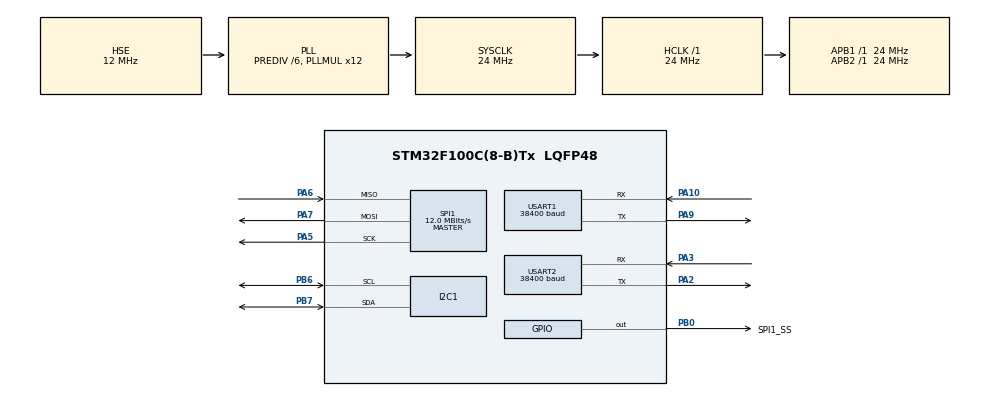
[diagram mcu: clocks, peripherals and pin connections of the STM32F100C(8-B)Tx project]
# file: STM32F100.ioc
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FREERTOS.Queues01=sensor_uart_rx,20,uint16_t,0,Dynamic,NULL,NULL;glider_uart_rx,5,uint16_t,0,Dynamic,NULL,NULL;glider_pt,2,char*,0,Dynamic,NULL,NULL
FREERTOS.Tasks01=defaultTask,0,128,StartDefaultTask,Default,NULL,Dynamic,NULL,NULL;sensor_t,-3,256,sensor_f,Default,NULL,Dynamic,NULL,NULL;glider_t,-3,128,glider_f,Default,NULL,Dynamic,NULL,NULL
FREERTOS.configTOTAL_HEAP_SIZE=4000
Mcu.Family=STM32F1
Mcu.Name=STM32F100C(8-B)Tx
Mcu.Package=LQFP48
NVIC.I2C1_ER_IRQn=true\:5\:0\:false\:false\:true\:true\:true\:true
NVIC.I2C1_EV_IRQn=true\:5\:0\:false\:false\:true\:true\:true\:true
NVIC.PriorityGroup=NVIC_PRIORITYGROUP_4
NVIC.SPI1_IRQn=true\:5\:0\:false\:false\:true\:true\:true\:true
NVIC.TIM1_UP_TIM16_IRQn=true\:0\:0\:false\:false\:true\:false\:false\:true
NVIC.TimeBase=TIM1_UP_TIM16_IRQn
NVIC.TimeBaseIP=TIM1
NVIC.USART1_IRQn=true\:5\:0\:false\:false\:true\:true\:true\:true
NVIC.USART2_IRQn=true\:5\:0\:false\:false\:true\:true\:true\:true
PA10.Mode=Asynchronous
PA10.Signal=USART1_RX
PA13.Mode=Serial_Wire
PA13.Signal=SYS_JTMS-SWDIO
PA14.Mode=Serial_Wire
PA14.Signal=SYS_JTCK-SWCLK
PA2.Mode=Asynchronous
PA2.Signal=USART2_TX
PA3.Mode=Asynchronous
PA3.Signal=USART2_RX
PA5.Mode=Full_Duplex_Master
PA5.Signal=SPI1_SCK
PA6.Mode=Full_Duplex_Master
PA6.Signal=SPI1_MISO
PA7.Mode=Full_Duplex_Master
PA7.Signal=SPI1_MOSI
PA9.Mode=Asynchronous
PA9.Signal=USART1_TX
PB0.GPIO_Label=SPI1_SS
PB0.GPIO_Speed=GPIO_SPEED_FREQ_HIGH
PB0.Signal=GPIO_Output
PB6.Mode=I2C
PB6.Signal=I2C1_SCL
PB7.Mode=I2C
PB7.Signal=I2C1_SDA
PD0-OSC_IN.Mode=HSE-External-Oscillator
PD0-OSC_IN.Signal=RCC_OSC_IN
PD1-OSC_OUT.Mode=HSE-External-Oscillator
PD1-OSC_OUT.Signal=RCC_OSC_OUT
ProjectManager.HeapSize=0x200
ProjectManager.StackSize=0x400
ProjectManager.TargetToolchain=MDK-ARM V5
RCC.AHBFreq_Value=24000000
RCC.APB1Freq_Value=24000000
RCC.APB1TimFreq_Value=24000000
RCC.APB2Freq_Value=24000000
RCC.APB2TimFreq_Value=24000000
RCC.HCLKFreq_Value=24000000
RCC.HSEDivPLL=RCC_HSE_PREDIV_DIV6
RCC.HSE_VALUE=12000000
RCC.PLLMUL=RCC_PLL_MUL12
RCC.PLLSource=RCC_PLLSOURCE_HSE
RCC.SYSCLKFreq_VALUE=24000000
RCC.SYSCLKSource=RCC_SYSCLKSOURCE_PLLCLK
SPI1.BaudRatePrescaler=SPI_BAUDRATEPRESCALER_2
SPI1.CalculateBaudRate=12.0 MBits/s
SPI1.Direction=SPI_DIRECTION_2LINES
SPI1.Mode=SPI_MODE_MASTER
SPI1.VirtualType=VM_MASTER
USART1.BaudRate=38400
USART1.VirtualMode=VM_ASYNC
USART2.BaudRate=38400
USART2.VirtualMode=VM_ASYNC
VP_FREERTOS_VS_CMSIS_V1.Mode=CMSIS_V1
VP_SYS_VS_tim1.Mode=TIM1
board=custom

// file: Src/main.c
/* USER CODE BEGIN Header */
/**
  ******************************************************************************
  * @file           : main.c
  * @brief          : Main program body
  ******************************************************************************
  * @attention
  *
  * <h2><center>&copy; Copyright (c) 2019 STMicroelectronics.
  * All rights reserved.</center></h2>
  *
  * This software component is licensed by ST under BSD 3-Clause license,
  * the "License"; You may not use this file except in compliance with the
  * License. You may obtain a copy of the License at:
  *                        opensource.org/licenses/BSD-3-Clause
  *
  ******************************************************************************
  */
/* USER CODE END Header */

#include "main.h"
#include "cmsis_os.h"

/* USER CODE BEGIN Includes */
#include "w25qxx.h"
#include "MS5837.h"
#include "string.h"
#include "stdlib.h"
#include "mbcrc.h"
/* USER CODE END Includes */

/* USER CODE BEGIN PD */
#define  DEPTH_THR_LEVEL         100.0
#define  H_DEPTH                 0
#define  L_DEPTH                 1
#define  UNKNOWN_DEPTH           2

#define  SENSOR_UART             huart2
#define  GLIDER_UART             huart1

#define  READY									 1
#define  STOPPED                 2

#define  DEBUG_PROMPT_ON
//#define  DEBUG_ON
//#define  DEBUG_EXT__ON

#define  START_MESSAGE           "g_start:v1.23 UV>"
#define  PROMPT                  "UV>"

#define  SENSOR_MESSAGE_LEN      256
#define  SENSOR_RX_BUFFER_SIZE   1024
#define  SENSOR_RX_BUFFER_THR    768

#define  GLIDER_RX_BUFFER_SIZE   100
#define  GLIDER_RX_BUFFER_THR    70

#define  MAX_LPM_DATA_STRING     250
#define  LPM_DATA_AVG_NUMBER     5

#define  RESP_STRINGS_NUM        2

#define  SENSORDATA_BLOCK            0
#define  SENSORDATA_START_ADDR       4096
#define  SENSORDATA_END_ADDR         12000000

#define  MS5837_BLOCK								 1
#define  MS5837_START_ADDR           12000001
#define  MS5837_END_ADDR             16700000

#define  NUM_OF_DATABLOCKS       2
#define  NO_FREE_SPACE           0
#define  FREE_SPACE              1

#define  SYS_INFO_ADDR           1

#define  NUM_OF_FUNCTIONS           7
#define  GLIDER_CMD_DEPTH           0
#define  GLIDER_CMD_STOP            1
#define  GLIDER_CMD_SEND_TXT_FILE   2
#define  SEND_TXT_FILE              3
#define  GLIDER_CMD_START           4
#define  SEND_INFO                  5
#define  RESET                      6

#define  FLASH_ERASE_FLAG        0x01
#define  FLASH_NOERASE_FLAG      0x00

#define  F_ERROR										0
#define  F_NO_ERROR									1

/* USER CODE END PD */

I2C_HandleTypeDef hi2c1;

SPI_HandleTypeDef hspi1;

UART_HandleTypeDef huart1;
UART_HandleTypeDef huart2;

osThreadId defaultTaskHandle;
osThreadId sensor_tHandle;
osThreadId glider_tHandle;
osMessageQId sensor_uart_rxHandle;
osMessageQId glider_uart_rxHandle;
osMessageQId glider_ptHandle;
/* USER CODE BEGIN PV */
uint8_t avg_lpm_data_frame[MAX_LPM_DATA_STRING];
struct LPM_DATA_values LPM_DATA_avg;
uint8_t number_of_frame=0;

uint8_t system_status=STOPPED;
uint8_t sensor_rx_byte;
uint8_t glider_rx_byte;
uint8_t sensor_rx_buffer[SENSOR_RX_BUFFER_SIZE];
uint8_t glider_rx_buffer[GLIDER_RX_BUFFER_SIZE];
uint16_t sensor_rx_buffer_indx=0;
uint16_t glider_rx_buffer_indx=0;
uint16_t sensor_rx_buffer_new_string_indx=0;
uint16_t glider_rx_buffer_new_string_indx=0;
char* glider_commands_strings[]={"DEPTH","STOP","SEND_TXT_FILE","READ_FLASH","START","SEND_INFO","RESET"};
char* data_response_strings[]={"LPM_DATA","BLACK_DATA"};
char  START_ACQ_H[]="$start:ACQ_SG_2H;\n";
char  START_ACQ_L[]="$start:ACQ_SG_2L;\n";
char  STOP_ACQ[]="$stop;\n";
char  PT_MSG_PRE[]="$pt:";
char  PT_MSG_POST[]=";\n";

int ((*glider_functions[NUM_OF_FUNCTIONS]))(uint8_t* msg);

int GLIDER_CMD_DEPTH_f(uint8_t* msg);
int GLIDER_CMD_STOP_f(uint8_t* msg);
int GLIDER_CMD_SEND_TXT_FILE_f(uint8_t* msg);
int SEND_TXT_FILE_f(uint8_t* msg);
int GLIDER_CMD_START_f(uint8_t* msg);
int SEND_INFO_f(uint8_t* msg);
int GLIDER_CMD_RESET_f(uint8_t* msg);

void messages_init(void);
int  parse_message(uint8_t* msg);

void flash_save_sysinfo(uint8_t dirty_flag);

char pressure_string[50];
uint8_t  msg_buffer[SENSOR_MESSAGE_LEN];

/* USER CODE END PV */

void SystemClock_Config(void);
static void MX_GPIO_Init(void);
static void MX_I2C1_Init(void);
static void MX_SPI1_Init(void);
static void MX_USART1_UART_Init(void);
static void MX_USART2_UART_Init(void);
void StartDefaultTask(void const * argument);
void sensor_f(void const * argument);
void glider_f(void const * argument);

/* USER CODE BEGIN PFP */
uint8_t wait_sensor_response_string( uint32_t timeout,uint16_t* msg_indx);
void    save_message_to_flash(uint8_t* data);
uint8_t read_message_from_flash(uint8_t* data);
void    stop_flash_recording(void);
uint8_t check_flash_dirty_flag(void);
double  get_pressure(char* pressure);
void    clearSensorQueue(void);
void    set_L_profile(void);
void    set_H_profile(void);

/* USER CODE END PFP */

/* USER CODE BEGIN 0 */
extern struct MS5837_t MS5837;

#pragma pack (push, 1)
struct LPM_DATA_values
{
 double temperature;
 uint64_t arr1[2];
 uint32_t arr2[16];
 uint16_t arr3[18]
};
#pragma pack (pop)

#pragma pack (push, 1)
struct data_block_str
{
 	uint32_t start_addr;
	uint32_t end_addr;
	uint32_t write_pointer;
	uint32_t read_pointer;
	uint8_t  nofree_space_flag;
};
#pragma pack (pop)

#pragma pack (push, 1)
struct system_info_str
{
  uint8_t  dirty_flag;
  struct   data_block_str data_blocks[NUM_OF_DATABLOCKS];
	int16_t  crc16;
};
#pragma pack (pop)
struct system_info_str running_sys_info;

struct data_block_str* sensor_data_hdr;

/* USER CODE END 0 */

int main(void)
{

  /* MCU Configuration--------------------------------------------------------*/

  /* Reset of all peripherals, Initializes the Flash interface and the Systick. */
  HAL_Init();

  /* Configure the system clock */
  SystemClock_Config();

  /* Initialize all configured peripherals */
  MX_GPIO_Init();
  MX_I2C1_Init();
  MX_SPI1_Init();
  MX_USART1_UART_Init();
  MX_USART2_UART_Init();

  /* Create the queue(s) */
  /* definition and creation of sensor_uart_rx */
  osMessageQDef(sensor_uart_rx, 20, uint16_t);
  sensor_uart_rxHandle = osMessageCreate(osMessageQ(sensor_uart_rx), NULL);

  /* definition and creation of glider_uart_rx */
  osMessageQDef(glider_uart_rx, 5, uint16_t);
  glider_uart_rxHandle = osMessageCreate(osMessageQ(glider_uart_rx), NULL);

  /* definition and creation of glider_pt */
  osMessageQDef(glider_pt, 2, char*);
  glider_ptHandle = osMessageCreate(osMessageQ(glider_pt), NULL);

  /* Create the thread(s) */
  /* definition and creation of defaultTask */
  osThreadDef(defaultTask, StartDefaultTask, osPriorityNormal, 0, 128);
  defaultTaskHandle = osThreadCreate(osThread(defaultTask), NULL);

  /* definition and creation of sensor_t */
  osThreadDef(sensor_t, sensor_f, osPriorityIdle, 0, 256);
  sensor_tHandle = osThreadCreate(osThread(sensor_t), NULL);

  /* definition and creation of glider_t */
  osThreadDef(glider_t, glider_f, osPriorityIdle, 0, 128);
  glider_tHandle = osThreadCreate(osThread(glider_t), NULL);

  /* Start scheduler */
  osKernelStart();

  /* We should never get here as control is now taken by the scheduler */

  /* Infinite loop */
  while (1)
  {

  }
}

void SystemClock_Config(void)
{
  RCC_OscInitTypeDef RCC_OscInitStruct = {0};
  RCC_ClkInitTypeDef RCC_ClkInitStruct = {0};

  /** Initializes the CPU, AHB and APB busses clocks
  */
  RCC_OscInitStruct.OscillatorType = RCC_OSCILLATORTYPE_HSE;
  RCC_OscInitStruct.HSEState = RCC_HSE_ON;
  RCC_OscInitStruct.HSEPredivValue = RCC_HSE_PREDIV_DIV6;
  RCC_OscInitStruct.PLL.PLLState = RCC_PLL_ON;
  RCC_OscInitStruct.PLL.PLLSource = RCC_PLLSOURCE_HSE;
  RCC_OscInitStruct.PLL.PLLMUL = RCC_PLL_MUL12;
  if (HAL_RCC_OscConfig(&RCC_OscInitStruct) != HAL_OK)
  {
    Error_Handler();
  }
  /** Initializes the CPU, AHB and APB busses clocks
  */
  RCC_ClkInitStruct.ClockType = RCC_CLOCKTYPE_HCLK|RCC_CLOCKTYPE_SYSCLK
                              |RCC_CLOCKTYPE_PCLK1|RCC_CLOCKTYPE_PCLK2;
  RCC_ClkInitStruct.SYSCLKSource = RCC_SYSCLKSOURCE_PLLCLK;
  RCC_ClkInitStruct.AHBCLKDivider = RCC_SYSCLK_DIV1;
  RCC_ClkInitStruct.APB1CLKDivider = RCC_HCLK_DIV1;
  RCC_ClkInitStruct.APB2CLKDivider = RCC_HCLK_DIV1;

  if (HAL_RCC_ClockConfig(&RCC_ClkInitStruct, FLASH_LATENCY_0) != HAL_OK)
  {
    Error_Handler();
  }
}

static void MX_I2C1_Init(void)
{

  hi2c1.Instance = I2C1;
  hi2c1.Init.ClockSpeed = 100000;
  hi2c1.Init.DutyCycle = I2C_DUTYCYCLE_2;
  hi2c1.Init.OwnAddress1 = 0;
  hi2c1.Init.AddressingMode = I2C_ADDRESSINGMODE_7BIT;
  hi2c1.Init.DualAddressMode = I2C_DUALADDRESS_DISABLE;
  hi2c1.Init.OwnAddress2 = 0;
  hi2c1.Init.GeneralCallMode = I2C_GENERALCALL_DISABLE;
  hi2c1.Init.NoStretchMode = I2C_NOSTRETCH_DISABLE;
  if (HAL_I2C_Init(&hi2c1) != HAL_OK)
  {
    Error_Handler();
  }

}

static void MX_SPI1_Init(void)
{

  /* SPI1 parameter configuration*/
  hspi1.Instance = SPI1;
  hspi1.Init.Mode = SPI_MODE_MASTER;
  hspi1.Init.Direction = SPI_DIRECTION_2LINES;
  hspi1.Init.DataSize = SPI_DATASIZE_8BIT;
  hspi1.Init.CLKPolarity = SPI_POLARITY_LOW;
  hspi1.Init.CLKPhase = SPI_PHASE_1EDGE;
  hspi1.Init.NSS = SPI_NSS_SOFT;
  hspi1.Init.BaudRatePrescaler = SPI_BAUDRATEPRESCALER_2;
  hspi1.Init.FirstBit = SPI_FIRSTBIT_MSB;
  hspi1.Init.TIMode = SPI_TIMODE_DISABLE;
  hspi1.Init.CRCCalculation = SPI_CRCCALCULATION_DISABLE;
  hspi1.Init.CRCPolynomial = 10;
  if (HAL_SPI_Init(&hspi1) != HAL_OK)
  {
    Error_Handler();
  }

}

static void MX_USART1_UART_Init(void)
{

  huart1.Instance = USART1;
  huart1.Init.BaudRate = 38400;
  huart1.Init.WordLength = UART_WORDLENGTH_8B;
  huart1.Init.StopBits = UART_STOPBITS_1;
  huart1.Init.Parity = UART_PARITY_NONE;
  huart1.Init.Mode = UART_MODE_TX_RX;
  huart1.Init.HwFlowCtl = UART_HWCONTROL_NONE;
  huart1.Init.OverSampling = UART_OVERSAMPLING_16;
  if (HAL_UART_Init(&huart1) != HAL_OK)
  {
    Error_Handler();
  }

}

static void MX_USART2_UART_Init(void)
{

  huart2.Instance = USART2;
  huart2.Init.BaudRate = 38400;
  huart2.Init.WordLength = UART_WORDLENGTH_8B;
  huart2.Init.StopBits = UART_STOPBITS_1;
  huart2.Init.Parity = UART_PARITY_NONE;
  huart2.Init.Mode = UART_MODE_TX_RX;
  huart2.Init.HwFlowCtl = UART_HWCONTROL_NONE;
  huart2.Init.OverSampling = UART_OVERSAMPLING_16;
  if (HAL_UART_Init(&huart2) != HAL_OK)
  {
    Error_Handler();
  }

}

static void MX_GPIO_Init(void)
{
  GPIO_InitTypeDef GPIO_InitStruct = {0};

  /* GPIO Ports Clock Enable */
  __HAL_RCC_GPIOD_CLK_ENABLE();
  __HAL_RCC_GPIOA_CLK_ENABLE();
  __HAL_RCC_GPIOB_CLK_ENABLE();

  /*Configure GPIO pin Output Level */
  HAL_GPIO_WritePin(SPI1_SS_GPIO_Port, SPI1_SS_Pin, GPIO_PIN_RESET);

  /*Configure GPIO pin : SPI1_SS_Pin */
  GPIO_InitStruct.Pin = SPI1_SS_Pin;
  GPIO_InitStruct.Mode = GPIO_MODE_OUTPUT_PP;
  GPIO_InitStruct.Pull = GPIO_NOPULL;
  GPIO_InitStruct.Speed = GPIO_SPEED_FREQ_HIGH;
  HAL_GPIO_Init(SPI1_SS_GPIO_Port, &GPIO_InitStruct);

}

/* USER CODE BEGIN 4 */

void HAL_UART_RxCpltCallback(UART_HandleTypeDef *huart)
{
 if(huart==&SENSOR_UART)
 {
	  if(system_status==READY)
	  {
			sensor_rx_buffer[sensor_rx_buffer_indx]=sensor_rx_byte;
			if(sensor_rx_byte=='\n')
			{
				sensor_rx_buffer[sensor_rx_buffer_indx]=0x00;
				osMessagePut(sensor_uart_rxHandle,sensor_rx_buffer_new_string_indx,1);
				if(sensor_rx_buffer_indx>SENSOR_RX_BUFFER_THR) sensor_rx_buffer_indx=0;
				else 	sensor_rx_buffer_indx++;
				sensor_rx_buffer_new_string_indx=sensor_rx_buffer_indx;
			}
			else sensor_rx_buffer_indx++;
			if(sensor_rx_buffer_indx==SENSOR_RX_BUFFER_SIZE)
			{
				sensor_rx_buffer_indx=0;
				sensor_rx_buffer_new_string_indx=sensor_rx_buffer_indx;
			}
	  }
		else
		{
		  sensor_rx_buffer_indx=0;
			sensor_rx_buffer_new_string_indx=sensor_rx_buffer_indx;
		}

		HAL_UART_Receive_IT(&SENSOR_UART,&sensor_rx_byte,1);
 }
 else if(huart==&GLIDER_UART)
 {
		glider_rx_buffer[glider_rx_buffer_indx]=glider_rx_byte;
	  if(glider_rx_byte=='\r')
		{
			glider_rx_buffer[glider_rx_buffer_indx]=0x00;
			osMessagePut(glider_uart_rxHandle,glider_rx_buffer_new_string_indx,1);
			if(glider_rx_buffer_indx>GLIDER_RX_BUFFER_THR) glider_rx_buffer_indx=0;
			else 	glider_rx_buffer_indx++;
			glider_rx_buffer_new_string_indx=glider_rx_buffer_indx;
		}
    else glider_rx_buffer_indx++;
		if(glider_rx_buffer_indx==GLIDER_RX_BUFFER_SIZE)
		{
			glider_rx_buffer_indx=0;
			glider_rx_buffer_new_string_indx=glider_rx_buffer_indx;
		}
		HAL_UART_Receive_IT(&GLIDER_UART,&glider_rx_byte,1);
 }
}

void clearSensorQueue(void)
{
	uint16_t new_message_indx;
   while(xQueueReceive(sensor_uart_rxHandle,&new_message_indx,1)){}
}

uint8_t wait_sensor_response_string( uint32_t timeout,uint16_t* msg_indx)
{
	uint16_t new_message_indx;
  uint32_t start_time=xTaskGetTickCount();
  char* tmp_char;

	while(xTaskGetTickCount()-start_time<timeout)
	{
		if(xQueueReceive(sensor_uart_rxHandle,&new_message_indx,1))
		{
			for(int i=0;i<RESP_STRINGS_NUM;i++)
			{
			 tmp_char=strstr(sensor_rx_buffer+new_message_indx,data_response_strings[i]);
			 if(tmp_char)
			 {
				 *msg_indx=new_message_indx;
			   return i+1;
			 }
		  }
			osDelay(50);
			return 0;
		}
		osDelay(10);
  }
	return 0;
}

uint8_t flash_check_CRC(struct system_info_str* sys_info)
{
	int16_t CRC16_calc=usMBCRC16((uint8_t*)sys_info,sizeof(sys_info)-2);
	if(CRC16_calc==sys_info->crc16) return 1;
	else return 0;
}
void flash_generate_CRC(struct system_info_str* sys_info)
{

	int16_t new_crc=usMBCRC16((uint8_t*)sys_info,sizeof(sys_info)-2);
	sys_info->crc16=new_crc;

	#ifdef DEBUG2_ON

	uint8_t ttt[20];
	sprintf(ttt,"CRC_CALC:%02x,%02x\r\n",(uint8_t)(new_crc),(uint8_t)(new_crc>>8));
	HAL_UART_Transmit(&GLIDER_UART,ttt,strlen(ttt),1000);

	#endif
}

void flash_erase()
{

 	W25qxx_EraseChip();

	running_sys_info.dirty_flag=FLASH_NOERASE_FLAG;
	running_sys_info.data_blocks[0].start_addr=SENSORDATA_START_ADDR;
	running_sys_info.data_blocks[0].end_addr=SENSORDATA_END_ADDR;
	running_sys_info.data_blocks[0].write_pointer=0;
	running_sys_info.data_blocks[0].read_pointer=0;
	running_sys_info.data_blocks[0].nofree_space_flag=FREE_SPACE;

	running_sys_info.data_blocks[1].start_addr=MS5837_START_ADDR;
	running_sys_info.data_blocks[1].end_addr=MS5837_END_ADDR;
	running_sys_info.data_blocks[1].write_pointer=0;
	running_sys_info.data_blocks[1].read_pointer=0;
	running_sys_info.data_blocks[1].nofree_space_flag=FREE_SPACE;

	#ifdef DEBUG_EXT_ON
  uint8_t ttt[30];
	sprintf(ttt,"CFG_CRC:%02x,%02x\r\n",(uint8_t)(running_sys_info.crc16),(uint8_t)(running_sys_info.crc16>>8));
	HAL_UART_Transmit(&GLIDER_UART,ttt,strlen(ttt),1000);
	sprintf(ttt,"CFG_1:%d\r\n",running_sys_info.data_blocks[0].start_addr);
	HAL_UART_Transmit(&GLIDER_UART,ttt,strlen(ttt),1000);
	sprintf(ttt,"CFG_2:%d\r\n",running_sys_info.data_blocks[0].end_addr);
	HAL_UART_Transmit(&GLIDER_UART,ttt,strlen(ttt),1000);
	sprintf(ttt,"CFG_3:%d\r\n",running_sys_info.data_blocks[0].read_pointer);
	HAL_UART_Transmit(&GLIDER_UART,ttt,strlen(ttt),1000);
  #endif

	flash_save_sysinfo(FLASH_NOERASE_FLAG);

}

int flash_open()
{

	W25qxx_Init();
	uint8_t ttt[20];
	uint8_t NB;

	uint32_t ttID=W25qxx_ReadID();
	#ifdef DEBUG_ON
	sprintf(ttt,"MEM_ID:%02X%02X%02X%02X\r\n",(uint8_t)ttID,(uint8_t)(ttID>>8),(uint8_t)(ttID>>16),(uint8_t)(ttID>>24));
	HAL_UART_Transmit(&GLIDER_UART,ttt,strlen(ttt),1000);
	#endif

	for(int i=0;i<sizeof(running_sys_info);i++)
	{
		W25qxx_ReadByte(&NB,i+SYS_INFO_ADDR);
		*((uint8_t*)&running_sys_info+i)=NB;

		#ifdef DEBUG_EXT_ON
		sprintf(ttt,"%02x",(uint8_t)NB);
	  HAL_UART_Transmit(&GLIDER_UART,ttt,strlen(ttt),1000);
		#endif
	}

	#ifdef DEBUG_EXT_ON
	sprintf(ttt,"CRC_FLASH:%02x,%02x\r\n",(uint8_t)(running_sys_info.crc16),(uint8_t)(running_sys_info.crc16>>8));
	HAL_UART_Transmit(&GLIDER_UART,ttt,strlen(ttt),1000);
	sprintf(ttt,"CFG_1:%d\r\n",running_sys_info.data_blocks[0].start_addr);
	HAL_UART_Transmit(&GLIDER_UART,ttt,strlen(ttt),1000);
	sprintf(ttt,"CFG_2:%d\r\n",running_sys_info.data_blocks[0].end_addr);
	HAL_UART_Transmit(&GLIDER_UART,ttt,strlen(ttt),1000);
	sprintf(ttt,"CFG_3:%d\r\n",running_sys_info.data_blocks[0].read_pointer);
	HAL_UART_Transmit(&GLIDER_UART,ttt,strlen(ttt),1000);
	#endif

	if(flash_check_CRC(&running_sys_info))
	{
		#ifdef DEBUG_ON
		HAL_UART_Transmit(&GLIDER_UART,"CRC_OK\r\n",8,1000);
		#endif
	}
	else
	{
		#ifdef DEBUG_ON
		HAL_UART_Transmit(&GLIDER_UART,"CRC_BAD\r\n",9,1000);
		#endif
		flash_erase();
	}

	sensor_data_hdr=&running_sys_info.data_blocks[SENSORDATA_BLOCK];
	return F_NO_ERROR;
}

void flash_save_sysinfo(uint8_t dirty_flag)
{
	  running_sys_info.dirty_flag=dirty_flag;
	  flash_generate_CRC(&running_sys_info);
	  W25qxx_EraseSector(0);
	  for(int i=0;i<sizeof(running_sys_info);i++)
	  {
 		 W25qxx_WriteByte(*((uint8_t*)&running_sys_info+i),i+SYS_INFO_ADDR);
	  }
}

uint8_t flash_write_byte(struct data_block_str* flash_hdr,uint8_t* data)
{
	if(flash_hdr->nofree_space_flag==NO_FREE_SPACE) return 0;
	W25qxx_WriteByte(*data,flash_hdr->start_addr+flash_hdr->write_pointer);
	flash_hdr->write_pointer++;
	if(flash_hdr->write_pointer==flash_hdr->end_addr-flash_hdr->start_addr) {
		flash_hdr->nofree_space_flag=NO_FREE_SPACE;
	}
  return 1;
}

uint8_t flash_read_byte(struct data_block_str* flash_hdr,uint8_t* data)
{

   if(flash_hdr->read_pointer==flash_hdr->write_pointer) return 0;
	 if(flash_hdr->read_pointer>=flash_hdr->end_addr) return 0;
   W25qxx_ReadByte(data,flash_hdr->start_addr+flash_hdr->read_pointer);
	 flash_hdr->read_pointer++;
	 return 1;

}
uint8_t flash_set_read_addr(struct data_block_str* flash_hdr,uint32_t new_read_addr)
{
	if(new_read_addr>=flash_hdr->end_addr) return 0;
  flash_hdr->read_pointer=new_read_addr;
	return 1;
}

void save_ascii_message_to_flash(struct data_block_str* flash_hdr,uint8_t* data)
{
	  if(running_sys_info.dirty_flag==FLASH_NOERASE_FLAG)
		{
 	   for(int i=0;i<strlen(data);i++)
		 {
		  if(!flash_write_byte(flash_hdr,data+i)) return ;
		 }
	  }
}

void processing_sensor_message(uint8_t* data)
{
	char* msg_hdr=strstr(data,"BLACK_DATA");
	if(msg_hdr) save_ascii_message_to_flash(sensor_data_hdr,data);
	else
	{
		msg_hdr=strstr(data,"LPM_DATA");
	  if(msg_hdr)
		 {
			 char * pch;
			 if(number_of_frame==0)
			 {
				 avg_lpm_data_frame[0]=0;
				 LPM_DATA_avg.temperature=0.0;
				 for(int i=0;i<2;i++)LPM_DATA_avg.arr1[i]=0;
  			 for(int i=0;i<16;i++)LPM_DATA_avg.arr2[i]=0;
  			 for(int i=0;i<18;i++)LPM_DATA_avg.arr3[i]=0;

				 pch = strtok (data,",");//header
  			 strcat(avg_lpm_data_frame,pch);
				 strcat(avg_lpm_data_frame,",");
				 pch = strtok (NULL,",");//depth
				 strcat(avg_lpm_data_frame,pch);
				 strcat(avg_lpm_data_frame,",");
			 	 pch = strtok (NULL,",");//date
				 strcat(avg_lpm_data_frame,pch);
				 strcat(avg_lpm_data_frame,",");
			 	 pch = strtok (NULL,",");//time
				 strcat(avg_lpm_data_frame,pch);
				 strcat(avg_lpm_data_frame,",");
				 pch = strtok (NULL,",");//avg_images
				 strcat(avg_lpm_data_frame,pch);
				 strcat(avg_lpm_data_frame,",");
			 }
			 else
       {
				 pch = strtok (data,",");//header
				 pch = strtok (NULL,",");//depth
			 	 pch = strtok (NULL,",");//date
			 	 pch = strtok (NULL,",");//time
				 pch = strtok (NULL,",");//avg_images
			 }

			 //here start connvertion from ascii

			 pch = strtok (NULL,",");//temperature
			 LPM_DATA_avg.temperature+=strtod(pch, NULL);

			 for(int i=0;i<2;i++){
        pch = strtok (NULL, ",");
				LPM_DATA_avg.arr1[i]+=strtoul (pch, NULL, 0);
       }
			 for(int i=0;i<16;i++){
        pch = strtok (NULL, ",");
				 LPM_DATA_avg.arr2[i]+=strtoul (pch, NULL, 0);
       }
			 for(int i=0;i<18;i++){
        pch = strtok (NULL, ",");
				 LPM_DATA_avg.arr3[i]+=strtoul (pch, NULL, 0);
       }

			 number_of_frame++;

			 if(number_of_frame==LPM_DATA_AVG_NUMBER)
			 {
				 double d_num=(double) LPM_DATA_AVG_NUMBER;
				 double uint64_num=(uint64_t) LPM_DATA_AVG_NUMBER;
				 double uint32_num=(uint32_t) LPM_DATA_AVG_NUMBER;
				 double uint16_num=(uint16_t) LPM_DATA_AVG_NUMBER;

				 LPM_DATA_avg.temperature/=d_num;
				 for(int i=0;i<2;i++)	LPM_DATA_avg.arr1[i]/=uint64_num;
				 for(int i=0;i<16;i++) LPM_DATA_avg.arr2[i]/=uint32_num;
				 for(int i=0;i<18;i++) LPM_DATA_avg.arr3[i]/=uint16_num;

				 uint8_t tmp[11];
				 sprintf(tmp,"%lf,",LPM_DATA_avg.temperature);
				 strcat(avg_lpm_data_frame,tmp);

				 for(int i=0;i<2;i++)
				 {
					 sprintf(tmp,"%d,",LPM_DATA_avg.arr1[i]);
				   strcat(avg_lpm_data_frame,tmp);
				 }

				 for(int i=0;i<16;i++)
				 {
					 sprintf(tmp,"%d,",LPM_DATA_avg.arr2[i]);
				   strcat(avg_lpm_data_frame,tmp);
				 }
				 for(int i=0;i<18;i++)
				 {
					 sprintf(tmp,"%d,",LPM_DATA_avg.arr3[i]);
				   strcat(avg_lpm_data_frame,tmp);
				 }

				 MS5837_read(&hi2c1);
				 sprintf(tmp,"P,%f;",MS5837.pressure);
				 strcat(avg_lpm_data_frame,tmp);

				 save_ascii_message_to_flash(sensor_data_hdr,avg_lpm_data_frame);
				 number_of_frame=0;
			 }
		 }
	}

}

uint8_t read_ascii_message_from_flash(struct data_block_str* flash_hdr,uint8_t* data,uint32_t data_size)
 {
  for(int i=0;;i++)
  {
		if(i>=data_size) return 0;
		if(flash_read_byte(flash_hdr,data+i))
		{
			if(data[i]==';')
			{
				data[i+1]=0x00;
				return 1;
			}
	  }
		else return 0;
	}
}

double get_pressure(char* pressure)
{
	char * ptrEnd;
  return strtod(pressure,&ptrEnd);
}

void set_L_profile(void)
{
	HAL_UART_Transmit(&SENSOR_UART,(uint8_t*)STOP_ACQ,strlen(STOP_ACQ),1000);
	osDelay(200);
	HAL_UART_Transmit(&SENSOR_UART,(uint8_t*)STOP_ACQ,strlen(STOP_ACQ),1000);
	osDelay(200);
	HAL_UART_Transmit(&SENSOR_UART,(uint8_t*)START_ACQ_L,strlen(START_ACQ_L),1000);
	osDelay(2000);
}

void set_H_profile(void)
{
	HAL_UART_Transmit(&SENSOR_UART,(uint8_t*)STOP_ACQ,strlen(STOP_ACQ),1000);
	osDelay(200);
	HAL_UART_Transmit(&SENSOR_UART,(uint8_t*)STOP_ACQ,strlen(STOP_ACQ),1000);
	osDelay(200);
	HAL_UART_Transmit(&SENSOR_UART,(uint8_t*)START_ACQ_H,strlen(START_ACQ_H),1000);
	osDelay(2000);
}

void messages_init()
{
	glider_functions[GLIDER_CMD_DEPTH] = GLIDER_CMD_DEPTH_f;
	glider_functions[GLIDER_CMD_STOP] = GLIDER_CMD_STOP_f;
	glider_functions[GLIDER_CMD_SEND_TXT_FILE] = GLIDER_CMD_SEND_TXT_FILE_f;
	glider_functions[SEND_TXT_FILE] = SEND_TXT_FILE_f;
	glider_functions[GLIDER_CMD_START] =GLIDER_CMD_START_f;
	glider_functions[SEND_INFO] =SEND_INFO_f;
	glider_functions[RESET] =GLIDER_CMD_RESET_f;
}
int parse_message(uint8_t* msg)
{
 uint8_t* tmp_ptr;
 for(int i=0;i<NUM_OF_FUNCTIONS;i++)
 {
	  tmp_ptr=0;
	  tmp_ptr=strstr(msg,glider_commands_strings[i]);
	  if(tmp_ptr)
		{
			if(glider_functions[i](tmp_ptr)==F_NO_ERROR) return F_NO_ERROR;
      else return F_ERROR;
		}
 }
 return F_ERROR;
}

int GLIDER_CMD_DEPTH_f(uint8_t* msg)
{
	#ifdef DEBUG_ON
	HAL_UART_Transmit(&GLIDER_UART,"!D",2,1000);
	#endif
	pressure_string[0]=0x00;
	strcat(pressure_string,msg+5);
	osMessagePut(glider_ptHandle,(uint32_t)pressure_string,1);
	return F_NO_ERROR;
}
int GLIDER_CMD_STOP_f(uint8_t* msg)
{
	#ifdef DEBUG_ON
	HAL_UART_Transmit(&GLIDER_UART,"!S",2,1000);
	#endif

	uint8_t* stub;
	uint8_t new_message_indx;
 	flash_save_sysinfo(FLASH_NOERASE_FLAG);
	system_status=STOPPED;

	number_of_frame=0;
  avg_lpm_data_frame[0]=0;
	LPM_DATA_avg.temperature=0.0;
	for(int i=0;i<2;i++)LPM_DATA_avg.arr1[i]=0;
  for(int i=0;i<16;i++)LPM_DATA_avg.arr2[i]=0;
  for(int i=0;i<18;i++)LPM_DATA_avg.arr3[i]=0;

	while(xQueueReceive(sensor_uart_rxHandle,&new_message_indx,1)){}

	SEND_INFO_f(stub);

	HAL_UART_Transmit(&GLIDER_UART,"STOPPED",7,1000);
	HAL_UART_Transmit(&GLIDER_UART,PROMPT,strlen(PROMPT),1000);
	return F_NO_ERROR;
}

int GLIDER_CMD_START_f(uint8_t* msg)
{
	#ifdef DEBUG_ON
	HAL_UART_Transmit(&GLIDER_UART,"!G",2,1000);
	#endif

	uint8_t* stub;
	flash_open();
	if(running_sys_info.dirty_flag==FLASH_ERASE_FLAG)
	{
			HAL_UART_Transmit(&GLIDER_UART,"ERASE_FLAG\r\n",12,1000);
			flash_erase();
      HAL_UART_Transmit(&GLIDER_UART,"ERASED\r",7,1000);
	}

	system_status=READY;
	SEND_INFO_f(stub);
	HAL_UART_Transmit(&GLIDER_UART,"READY",5,1000);
	HAL_UART_Transmit(&GLIDER_UART,PROMPT,strlen(PROMPT),1000);
	return F_NO_ERROR;
}

int GLIDER_CMD_SEND_TXT_FILE_f(uint8_t* msg)
{
	#ifdef DEBUG_ON
	HAL_UART_Transmit(&GLIDER_UART,"!T",2,1000);
	#endif

	//HAL_UART_Transmit(&GLIDER_UART,PROMPT,strlen(PROMPT),1000);
	flash_set_read_addr(sensor_data_hdr,0);
	while(read_ascii_message_from_flash(sensor_data_hdr,msg_buffer,SENSOR_MESSAGE_LEN))
	{
	 HAL_UART_Transmit(&GLIDER_UART,msg_buffer,strlen(msg_buffer),1000);
	}
	if(running_sys_info.dirty_flag==FLASH_NOERASE_FLAG)flash_save_sysinfo(FLASH_ERASE_FLAG);
	HAL_UART_Transmit(&GLIDER_UART,PROMPT,strlen(PROMPT),1000);
  return F_NO_ERROR;
}

int GLIDER_CMD_RESET_f(uint8_t* msg)
{
	#ifdef DEBUG_ON
	HAL_UART_Transmit(&GLIDER_UART,"!R",2,1000);
	#endif

	HAL_UART_Transmit(&GLIDER_UART,PROMPT,strlen(PROMPT),1000);
  return F_NO_ERROR;
}

int SEND_TXT_FILE_f(uint8_t* msg)
{
	HAL_UART_Transmit(&GLIDER_UART,"FLASH READING\r\n",15,1000);
	flash_set_read_addr(sensor_data_hdr,0);
	while(flash_read_byte(sensor_data_hdr,msg_buffer))
	{
	 HAL_UART_Transmit(&GLIDER_UART,msg_buffer,1,1000);
	}
	HAL_UART_Transmit(&GLIDER_UART,"FLASH READED\r\n",14,1000);
  return F_NO_ERROR;
}

int SEND_INFO_f(uint8_t* msg)
{
	uint8_t ttt[30];

	sprintf(ttt,"START_PTR:%d\r\n",sensor_data_hdr->start_addr);
	HAL_UART_Transmit(&GLIDER_UART,ttt,strlen(ttt),1000);
	sprintf(ttt,"END_PTR:%d\r\n",sensor_data_hdr->end_addr);
	HAL_UART_Transmit(&GLIDER_UART,ttt,strlen(ttt),1000);
	sprintf(ttt,"READ_PTR:%d\r\n",sensor_data_hdr->read_pointer);
	HAL_UART_Transmit(&GLIDER_UART,ttt,strlen(ttt),1000);
	sprintf(ttt,"WRITE_PTR:%d\r\n",sensor_data_hdr->write_pointer);
	HAL_UART_Transmit(&GLIDER_UART,ttt,strlen(ttt),1000);
	sprintf(ttt,"FREE_FLAG:%d\r\n",sensor_data_hdr->nofree_space_flag);
	HAL_UART_Transmit(&GLIDER_UART,ttt,strlen(ttt),1000);

	return F_NO_ERROR;
}

/* USER CODE END 4 */

void StartDefaultTask(void const * argument)
{

  for(;;)
  {
    osDelay(1);
  }
}

void sensor_f(void const * argument)
 {
  /* USER CODE BEGIN sensor_f */
  /* Infinite loop */

	char* pressure;
	char PT_MSG[100];

  uint8_t resp_OK;
	uint8_t tries;
	uint16_t message_indx;

	uint8_t prev_depth=UNKNOWN_DEPTH;
	uint8_t cur_depth=UNKNOWN_DEPTH;

  HAL_UART_Transmit(&SENSOR_UART,"s_start\r\n",9,1000);
	HAL_UART_Receive_IT(&SENSOR_UART,&sensor_rx_byte,1);

	for(;;)
  {
		if(system_status==READY)
		{
		 if(xQueueReceive(glider_ptHandle,&pressure,1))
	   {

			PT_MSG[0]=0x00;
		  strcat(PT_MSG,PT_MSG_PRE);
			strcat(PT_MSG,pressure);
			strcat(PT_MSG,PT_MSG_POST);
		  resp_OK=0;
			tries=0;

			//define profile
			if(get_pressure(pressure)>DEPTH_THR_LEVEL)
			{
				cur_depth=L_DEPTH;
				if(prev_depth==UNKNOWN_DEPTH)prev_depth=H_DEPTH;
			}
			else
			{
				cur_depth=H_DEPTH;
				if(prev_depth==UNKNOWN_DEPTH)prev_depth=L_DEPTH;
			}

			if(cur_depth==H_DEPTH&&prev_depth==L_DEPTH)
			{
				set_H_profile();
				prev_depth=cur_depth;
			}

			if(cur_depth==L_DEPTH&&prev_depth==H_DEPTH)
			{
				set_L_profile();
				prev_depth=cur_depth;
			}
      //end of deine profile

			clearSensorQueue();
      do
			{
				#ifdef DEBUG_ON
				HAL_UART_Transmit(&GLIDER_UART,"?D",2,1000);
				#endif

        HAL_UART_Transmit(&SENSOR_UART,PT_MSG,strlen(PT_MSG),1000);

				if(wait_sensor_response_string(2500,&message_indx)>0)//check for LPM_DATA
				{
					processing_sensor_message(sensor_rx_buffer+message_indx);
					if(wait_sensor_response_string(500,&message_indx)>0)//check for BLACK_DATA
				  {
						processing_sensor_message(sensor_rx_buffer+message_indx);
				  }
					resp_OK=1;
				}

				tries++;

			}while(!resp_OK&&tries<2);
   	 }
	  }
		osDelay(1);
	}

  /* USER CODE END sensor_f */
}

void glider_f(void const * argument)
{
  /* USER CODE BEGIN glider_f */

  /* Infinite loop */
	uint16_t message_indx;
	messages_init();

  HAL_UART_Receive_IT(&GLIDER_UART,&glider_rx_byte,1);
	HAL_UART_Transmit_IT(&GLIDER_UART,START_MESSAGE,strlen(START_MESSAGE));

	MS5837_init(&hi2c1);
	flash_open();
  system_status=READY;

  for(;;)
  {
  	  if(xQueueReceive(glider_uart_rxHandle,&message_indx,1))
		  {
			 parse_message(glider_rx_buffer+message_indx);
		  }
      osDelay(1);

  }
  /* USER CODE END glider_f */
}

void HAL_TIM_PeriodElapsedCallback(TIM_HandleTypeDef *htim)
{
  if (htim->Instance == TIM1) {
    HAL_IncTick();
  }
}

void Error_Handler(void)
{
}

/************************ (C) COPYRIGHT STMicroelectronics *****END OF FILE****/
